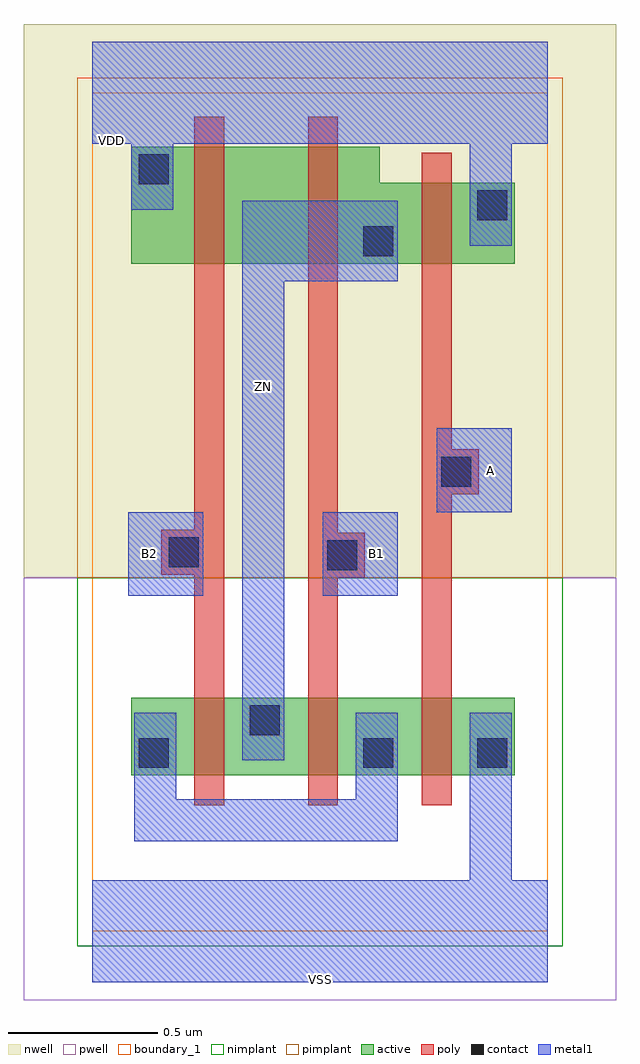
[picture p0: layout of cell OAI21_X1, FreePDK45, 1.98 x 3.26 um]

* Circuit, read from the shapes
.subckt OAI21_X1 A B1 B2 VDD VSS ZN
M1 ZN B2 n1 VSUBS nfet w=0.26u l=0.1u
M2 n1 B1 ZN VSUBS nfet w=0.26u l=0.1u
M3 VSS A n1 VSUBS nfet w=0.26u l=0.1u
M4 n2 B2 VDD n3 pfet w=0.39u l=0.1u
M5 ZN B1 n2 n3 pfet w=0.39u l=0.1u
M6 VDD A ZN n3 pfet w=0.27u l=0.1u
.ends

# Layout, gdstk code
import gdstk
lib = gdstk.Library(unit=1e-6, precision=1e-09)
def R(c, l, rs):  # rectangles x0, y0, x1, y1
    for r in rs: c.add(gdstk.rectangle(r[:2], r[2:], *l))
def P(c, l, *ps):  # polygons
    for p in ps: c.add(gdstk.Polygon(p, *l))
active = (1, 0)
pwell = (2, 0)
nwell = (3, 0)
nimplant = (4, 0)
pimplant = (5, 0)
poly = (9, 0)
contact = (10, 0)
metal1 = (11, 0)
boundary_1 = (235, 1)

oai21_x1 = lib.new_cell('OAI21_X1')
R(oai21_x1, active, [(0.13,0.52,1.41,0.78)])
P(oai21_x1, active, [(0.13,2.23),(1.41,2.23),(1.41,2.5),(0.96,2.5),(0.96,2.62),(0.13,2.62)])
R(oai21_x1, pwell, [(-0.23,-0.23,1.75,1.18)])
R(oai21_x1, nwell, [(-0.23,1.18,1.75,3.03)])
R(oai21_x1, nimplant, [(-0.05,-0.05,1.57,1.18)])
R(oai21_x1, pimplant, [(-0.05,1.18,1.57,2.85)])
P(oai21_x1, poly, [(1.1,0.42),(1.2,0.42),(1.2,1.46),(1.29,1.46),(1.29,1.61),(1.2,1.61),(1.2,2.6),(1.1,2.6)],
  [(0.72,0.42),(0.82,0.42),(0.82,1.18),(0.91,1.18),(0.91,1.33),(0.82,1.33),(0.82,2.72),(0.72,2.72)],
  [(0.23,1.19),(0.34,1.19),(0.34,0.42),(0.44,0.42),(0.44,2.72),(0.34,2.72),(0.34,1.34),(0.23,1.34)])
R(oai21_x1, contact, [(0.155,0.545,0.255,0.645), (0.905,0.545,1.005,0.645), (1.285,0.545,1.385,0.645), (0.525,0.655,0.625,0.755), (0.785,1.205,0.885,1.305), (0.255,1.215,0.355,1.315), (1.165,1.485,1.265,1.585), (0.905,2.255,1.005,2.355), (1.285,2.375,1.385,2.475), (0.155,2.495,0.255,2.595)])
R(oai21_x1, metal1, [(0.12,1.12,0.37,1.4), (0.12,1.12,0.37,1.4), (0.77,1.12,1.02,1.4), (0.77,1.12,1.02,1.4), (1.15,1.4,1.4,1.68), (1.15,1.4,1.4,1.68)])
P(oai21_x1, metal1, [(0.5,0.57),(0.64,0.57),(0.64,2.17),(1.02,2.17),(1.02,2.44),(0.5,2.44)],
  [(0,-0.17),(1.52,-0.17),(1.52,0.17),(1.4,0.17),(1.4,0.73),(1.26,0.73),(1.26,0.17),(0,0.17)],
  [(0,2.63),(0.13,2.63),(0.13,2.41),(0.27,2.41),(0.27,2.63),(1.26,2.63),(1.26,2.29),(1.4,2.29),(1.4,2.63),(1.52,2.63),(1.52,2.97),(0,2.97)],
  [(0,2.63),(0.13,2.63),(0.13,2.41),(0.27,2.41),(0.27,2.63),(1.26,2.63),(1.26,2.29),(1.4,2.29),(1.4,2.63),(1.52,2.63),(1.52,2.97),(0,2.97)],
  [(0,-0.17),(1.52,-0.17),(1.52,0.17),(1.4,0.17),(1.4,0.73),(1.26,0.73),(1.26,0.17),(0,0.17)],
  [(0.5,0.57),(0.64,0.57),(0.64,2.17),(1.02,2.17),(1.02,2.44),(0.5,2.44)],
  [(0.14,0.3),(1.02,0.3),(1.02,0.73),(0.88,0.73),(0.88,0.44),(0.28,0.44),(0.28,0.73),(0.14,0.73)])
R(oai21_x1, boundary_1, [(0,0,1.52,2.8)])
oai21_x1.add(gdstk.Label('ZN', (0.57,1.82), layer=11, texttype=0))
oai21_x1.add(gdstk.Label('VSS', (0.76,-0.16), layer=11, texttype=0))
oai21_x1.add(gdstk.Label('VDD', (0.065,2.64), layer=11, texttype=0))
oai21_x1.add(gdstk.Label('B2', (0.19,1.26), layer=11, texttype=0))
oai21_x1.add(gdstk.Label('B1', (0.95,1.26), layer=11, texttype=0))
oai21_x1.add(gdstk.Label('A', (1.33,1.54), layer=11, texttype=0))

lib.write_gds('OAI21_X1.gds')
